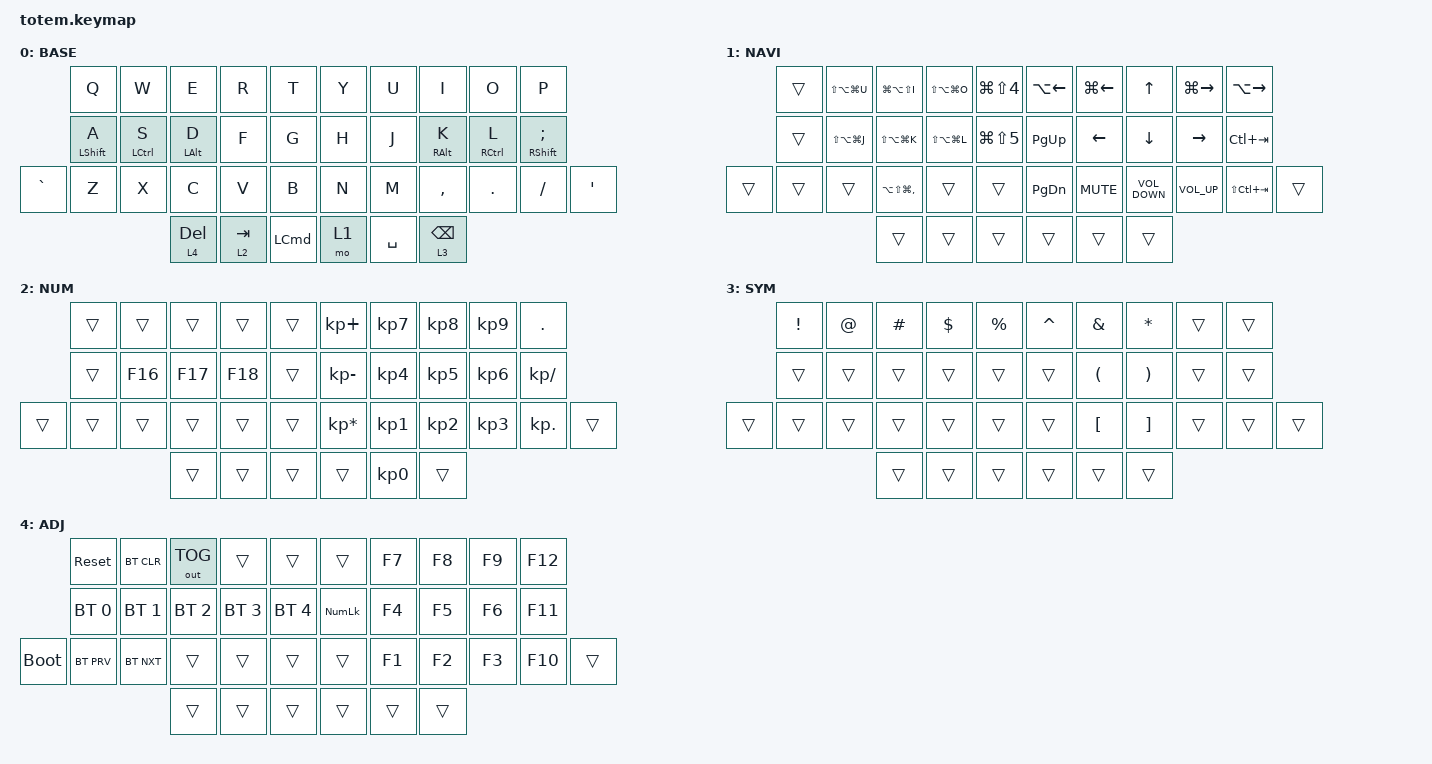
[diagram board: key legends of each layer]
//
//                                                        ▀▀▀▀▀     ▀▀▀▀▀          ▀▀█▀▀
//                                                        ▄▀▀▀▄  ▄  ▄▀▀▀▄  ▄  ▄▀▀▀▄  █  ▄▀▀▀▄
//                                                        █   █  █  █   █  █  █   █  █  █   █
//                                                         ▀▀▀   █   ▀▀▀   █   ▀▀▀   ▀   ▀▀▀
//                                                               █      ▄▄▄█▄▄▄    █   █  
//                                                               ▀      █  █  █     █▄█
//                                                             ▀▀▀▀▀    █  █  █      ▀
//                                                                      ▀  ▀  ▀
//
// ▄▄▄▄▄▄▄▄▄▄▄▄▄▄▄▄▄▄▄▄▄▄▄▄▄▄▄▄▄▄▄▄▄▄▄▄▄▄▄▄▄▄▄▄▄▄▄▄▄▄▄▄▄▄▄▄▄▄▄▄▄▄▄▄▄▄▄▄▄▄▄▄▄▄▄▄▄▄▄▄▄▄▄▄▄▄▄▄▄▄▄▄▄▄▄▄▄▄▄▄▄▄▄▄▄▄▄▄▄▄▄▄▄▄▄▄▄▄▄▄▄▄▄▄▄▄▄▄▄▄▄▄▄▄▄▄▄▄▄▄▄▄▄▄▄▄▄▄▄

#include <behaviors.dtsi>
#include <dt-bindings/zmk/bt.h>
#include <dt-bindings/zmk/keys.h>
#include <dt-bindings/zmk/outputs.h>

#define BASE 0
#define NAV  1
#define SYM  2
#define ADJ  3
#define TVP1 4
#define TVP2 5

&mt {
    quick-tap-ms = <100>;
    global-quick-tap;
    flavor = "tap-preferred";
    tapping-term-ms = <170>;
};

/ {
    combos {
        compatible = "zmk,combos";

        combo_esc {
            timeout-ms = <50>;
            key-positions = <0 1>;
            bindings = <&kp ESC>;
        };

        combo_enter {
            bindings = <&kp ENTER>;
            key-positions = <16 17 18>;
            timeout-ms = <50>;
        };

        combo_minus {
            bindings = <&kp MINUS>;
            key-positions = <7 8>;
        };

        combo_plus {
            bindings = <&kp EQUAL>;
            key-positions = <8 9>;
        };

        combo_backslash {
            bindings = <&kp BACKSLASH>;
            key-positions = <18 19>;
        };

        combo_f7 {
            bindings = <&kp F7>;
            key-positions = <27 28>;
        };

        combo_backspace {
            bindings = <&kp BACKSPACE>;
            key-positions = <16 17>;
            slow-release;
        };

        combo_delete {
            bindings = <&kp DELETE>;
            key-positions = <17 18>;
            slow-release;
        };

        combo_EN {
            bindings = <&double_F16>;
            key-positions = <12 13>;
        };

        combo_JP {
            bindings = <&double_F17>;
            key-positions = <13 14>;
        };

        combo_KR {
            bindings = <&double_F18>;
            key-positions = <15 16>;
        };
    };

    behaviors {
        hm: homerow_mods {
            compatible = "zmk,behavior-hold-tap";
            label = "HOMEROW_MODS";
            bindings = <&kp>, <&kp>;

            #binding-cells = <2>;
            tapping-term-ms = <200>;
            quick-tap-ms = <130>;
            flavor = "tap-preferred";
        };
    };

    macros {
        double_F16: double_F16 {
            compatible = "zmk,behavior-macro";
            #binding-cells = <0>;
            bindings =
                <&kp F16>,
                <&macro_tap>,
                <&macro_wait_time 400>,
                <&kp F16>,
                <&macro_tap>;

            label = "DOUBLE_F16";
        };

        double_F17: double_F17 {
            compatible = "zmk,behavior-macro";
            #binding-cells = <0>;
            bindings =
                <&kp F17>,
                <&macro_tap>,
                <&macro_wait_time 400>,
                <&kp F17>,
                <&macro_tap>;

            label = "DOUBLE_F17";
        };

        double_F18: double_F18 {
            compatible = "zmk,behavior-macro";
            #binding-cells = <0>;
            bindings =
                <&kp F18>,
                <&macro_tap>,
                <&macro_wait_time 400>,
                <&kp F18>,
                <&macro_tap>;

            label = "DOUBLE_F18";
        };

        double_F: double_F {
            compatible = "zmk,behavior-macro";
            #binding-cells = <0>;
            bindings =
                <&kp F>,
                <&macro_tap>,
                <&macro_wait_time 200>,
                <&kp F>,
                <&macro_tap>;

            label = "DOUBLE_F";
        };
    };

    keymap {
        compatible = "zmk,keymap";

        // ▄▄▄▄▄▄▄▄▄▄▄▄▄▄▄▄▄▄▄▄▄▄▄▄▄▄▄▄▄▄▄▄▄▄▄▄▄▄▄▄▄▄▄▄▄▄▄▄▄▄▄▄▄▄▄▄▄▄▄▄▄▄▄▄▄▄▄▄▄▄▄▄▄▄▄▄▄▄▄▄▄▄▄▄▄▄▄▄▄▄▄▄▄▄▄▄▄▄▄▄▄▄▄▄▄▄▄▄▄▄▄▄▄▄▄▄▄▄▄▄▄▄▄▄▄▄▄▄▄▄▄▄▄▄▄▄▄▄▄▄▄▄▄▄▄▄▄▄▄

        base_layer {
            // ┏━━━━━━━━━━━━━━━━━━━━━━━━━━━━━━━━━━━━━━━┓

            label = "BASE";

            // ┗━━━━━━━━━━━━━━━━━━━━━━━━━━━━━━━━━━━━━━━┛
            //             ┏━━━━━━━━━━━┳━━━━━━━━━━━┳━━━━━━━━━━━┳━━━━━━━━━━━┳━━━━━━━━━━━┓   ┏━━━━━━━━━━━┳━━━━━━━━━━━┳━━━━━━━━━━━┳━━━━━━━━━━━┳━━━━━━━━━━━┓
            //             ┃     Q     ┃     W     ┃     F     ┃     P     ┃     G     ┃   ┃     J     ┃     L     ┃     U     ┃     Y     ┃     ;     ┃
            //             ┣━━━━━━━━━━━╋━━━━━━━━━━━╋━━━━━━━━━━━╋━━━━━━━━━━━╋━━━━━━━━━━━┫   ┣━━━━━━━━━━━╋━━━━━━━━━━━╋━━━━━━━━━━━╋━━━━━━━━━━━╋━━━━━━━━━━━┫
            //             ┃     A     ┃     R     ┃     S     ┃     T     ┃     D     ┃   ┃     H     ┃     N     ┃     E     ┃     I     ┃     O     ┃
            // ┏━━━━━━━━━━━╋━━━━━━━━━━━╋━━━━━━━━━━━╋━━━━━━━━━━━╋━━━━━━━━━━━╋━━━━━━━━━━━┫   ┣━━━━━━━━━━━╋━━━━━━━━━━━╋━━━━━━━━━━━╋━━━━━━━━━━━╋━━━━━━━━━━━╋━━━━━━━━━━━┓
            // ┃     Q     ┃     Z     ┃     X     ┃     C     ┃     V     ┃     B     ┃   ┃     K     ┃     M     ┃     ,     ┃     .     ┃     /     ┃     \     ┃
            // ┗━━━━━━━━━━━┻━━━━━━━━━━━┻━━━━━━━━━━━╋━━━━━━━━━━━╋━━━━━━━━━━━╋━━━━━━━━━━━┫   ┣━━━━━━━━━━━╋━━━━━━━━━━━╋━━━━━━━━━━━╋━━━━━━━━━━━┻━━━━━━━━━━━┻━━━━━━━━━━━┛
            //                                     ┃    DEL    ┃    TAB    ┃    SPC    ┃   ┃   ENTER   ┃           ┃   BSPC    ┃
            //                                     ┗━━━━━━━━━━━┻━━━━━━━━━━━┻━━━━━━━━━━━┛   ┗━━━━━━━━━━━┻━━━━━━━━━━━┻━━━━━━━━━━━┛

            bindings = <
           &kp Q             &kp W               &kp E           &kp R      &kp T               &kp Y  &kp U      &kp I            &kp O                &kp P
           &hm LEFT_SHIFT A  &hm LEFT_CONTROL S  &hm LEFT_ALT D  &kp F      &kp G               &kp H  &kp J      &hm RIGHT_ALT K  &hm RIGHT_CONTROL L  &hm RIGHT_SHIFT SEMICOLON
&kp GRAVE  &kp Z             &kp X               &kp C           &kp V      &kp B               &kp N  &kp M      &kp COMMA        &kp DOT              &kp FSLH                   &kp SQT
                                                 &lt 4 DEL       &lt 2 TAB  &kp LEFT_COMMAND    &mo 1  &kp SPACE  &lt 3 BACKSPACE
            >;
        };

        nav_layer {
            // ┏━━━━━━━━━━━━━━━━━━━━━━━━━━━━━━━━━━━━━━━┓

            label = "NAVI";

            // ┗━━━━━━━━━━━━━━━━━━━━━━━━━━━━━━━━━━━━━━━┛
            //             ┏━━━━━━━━━━━┳━━━━━━━━━━━┳━━━━━━━━━━━┳━━━━━━━━━━━┳━━━━━━━━━━━┓   ┏━━━━━━━━━━━┳━━━━━━━━━━━┳━━━━━━━━━━━┳━━━━━━━━━━━┳━━━━━━━━━━━┓
            //             ┃           ┃           ┃     UP    ┃           ┃     {     ┃   ┃     }     ┃     7     ┃     8     ┃     9     ┃     +     ┃
            //             ┣━━━━━━━━━━━╋━━━━━━━━━━━╋━━━━━━━━━━━╋━━━━━━━━━━━╋━━━━━━━━━━━┫   ┣━━━━━━━━━━━╋━━━━━━━━━━━╋━━━━━━━━━━━╋━━━━━━━━━━━╋━━━━━━━━━━━┫
            //             ┃   SHIFT   ┃   LEFT    ┃    DOWN   ┃   RIGHT   ┃     [     ┃   ┃     ]     ┃     4     ┃     5     ┃     6     ┃     -     ┃
            // ┏━━━━━━━━━━━╋━━━━━━━━━━━╋━━━━━━━━━━━╋━━━━━━━━━━━╋━━━━━━━━━━━╋━━━━━━━━━━━┫   ┣━━━━━━━━━━━╋━━━━━━━━━━━╋━━━━━━━━━━━╋━━━━━━━━━━━╋━━━━━━━━━━━╋━━━━━━━━━━━┓
            // ┃           ┃           ┃   P UP    ┃  C LOCK   ┃  P DOWN   ┃     (     ┃   ┃     )     ┃     1     ┃     2     ┃     3     ┃     *     ┃           ┃
            // ┗━━━━━━━━━━━┻━━━━━━━━━━━┻━━━━━━━━━━━╋━━━━━━━━━━━╋━━━━━━━━━━━╋━━━━━━━━━━━┫   ┣━━━━━━━━━━━╋━━━━━━━━━━━╋━━━━━━━━━━━╋━━━━━━━━━━━┻━━━━━━━━━━━┻━━━━━━━━━━━┛
            //                                     ┃           ┃    TAB    ┃    SPC    ┃   ┃    DEL    ┃     0     ┃           ┃
            //                                     ┗━━━━━━━━━━━┻━━━━━━━━━━━┻━━━━━━━━━━━┛   ┗━━━━━━━━━━━┻━━━━━━━━━━━┻━━━━━━━━━━━┛

            bindings = <
        &trans  &kp LS(LA(LG(U)))  &kp LG(LA(LS(I)))      &kp LS(LA(LG(O)))  &kp LG(LS(NUMBER_4))    &kp LA(LEFT)  &kp LG(LEFT_ARROW)  &kp UP             &kp LG(RIGHT)    &kp LA(RIGHT)
        &trans  &kp LS(LA(LG(J)))  &kp LS(LA(LG(K)))      &kp LS(LA(LG(L)))  &kp LG(LS(NUMBER_5))    &kp PG_UP     &kp LEFT            &kp DOWN           &kp RIGHT        &kp LC(TAB)
&trans  &trans  &trans             &kp LA(LS(LG(COMMA)))  &trans             &trans                  &kp PG_DN     &kp C_MUTE          &kp C_VOLUME_DOWN  &kp C_VOLUME_UP  &kp LS(LC(TAB))  &trans
                                   &trans                 &trans             &trans                  &trans        &trans              &trans
            >;
        };

        num_layer {
            bindings = <
        &trans  &trans   &trans   &trans   &trans    &kp KP_PLUS      &kp KP_N7  &kp KP_N8  &kp KP_N9  &kp PERIOD
        &trans  &kp F16  &kp F17  &kp F18  &trans    &kp KP_MINUS     &kp KP_N4  &kp KP_N5  &kp KP_N6  &kp KP_DIVIDE
&trans  &trans  &trans   &trans   &trans   &trans    &kp KP_MULTIPLY  &kp KP_N1  &kp KP_N2  &kp KP_N3  &kp KP_DOT     &trans
                         &trans   &trans   &trans    &trans           &kp KP_N0  &trans
            >;

            label = "NUM";
        };

        sim_layer {
            // ┏━━━━━━━━━━━━━━━━━━━━━━━━━━━━━━━━━━━━━━━┓

            label = "SYM";

            // ┗━━━━━━━━━━━━━━━━━━━━━━━━━━━━━━━━━━━━━━━┛
            //             ┏━━━━━━━━━━━┳━━━━━━━━━━━┳━━━━━━━━━━━┳━━━━━━━━━━━┳━━━━━━━━━━━┓   ┏━━━━━━━━━━━┳━━━━━━━━━━━┳━━━━━━━━━━━┳━━━━━━━━━━━┳━━━━━━━━━━━┓
            //             ┃     !     ┃     @     ┃     #     ┃     $     ┃     %     ┃   ┃     ˆ     ┃     &     ┃     Ü     ┃     '     ┃     "     ┃
            //             ┣━━━━━━━━━━━╋━━━━━━━━━━━╋━━━━━━━━━━━╋━━━━━━━━━━━╋━━━━━━━━━━━┫   ┣━━━━━━━━━━━╋━━━━━━━━━━━╋━━━━━━━━━━━╋━━━━━━━━━━━╋━━━━━━━━━━━┫
            //             ┃     Ä     ┃           ┃    SZ     ┃           ┃           ┃   ┃   MUTE    ┃   YEN     ┃   EURO    ┃  POUND    ┃     Ö     ┃
            // ┏━━━━━━━━━━━╋━━━━━━━━━━━╋━━━━━━━━━━━╋━━━━━━━━━━━╋━━━━━━━━━━━╋━━━━━━━━━━━┫   ┣━━━━━━━━━━━╋━━━━━━━━━━━╋━━━━━━━━━━━╋━━━━━━━━━━━╋━━━━━━━━━━━╋━━━━━━━━━━━┓
            // ┃           ┃  EMAIL1   ┃  EMAIL2   ┃           ┃           ┃           ┃   ┃   VOL-    ┃   VOL+    ┃   LAST    ┃   NEXT    ┃     \     ┃           ┃
            // ┗━━━━━━━━━━━┻━━━━━━━━━━━┻━━━━━━━━━━━╋━━━━━━━━━━━╋━━━━━━━━━━━╋━━━━━━━━━━━┫   ┣━━━━━━━━━━━╋━━━━━━━━━━━╋━━━━━━━━━━━╋━━━━━━━━━━━┻━━━━━━━━━━━┻━━━━━━━━━━━┛
            //                                     ┃           ┃    GIF    ┃    ADJ    ┃   ┃           ┃           ┃           ┃
            //                                     ┗━━━━━━━━━━━┻━━━━━━━━━━━┻━━━━━━━━━━━┛   ┗━━━━━━━━━━━┻━━━━━━━━━━━┻━━━━━━━━━━━┛

            bindings = <
        &kp EXCL  &kp AT  &kp HASH  &kp DLLR  &kp PRCNT    &kp CARET  &kp AMPS              &kp ASTERISK           &trans  &trans
        &trans    &trans  &trans    &trans    &trans       &trans     &kp LEFT_PARENTHESIS  &kp RIGHT_PARENTHESIS  &trans  &trans
&trans  &trans    &trans  &trans    &trans    &trans       &trans     &kp LEFT_BRACKET      &kp RIGHT_BRACKET      &trans  &trans  &trans
                          &trans    &trans    &trans       &trans     &trans                &trans
            >;
        };

        adjust_layer {
            // ┏━━━━━━━━━━━━━━━━━━━━━━━━━━━━━━━━━━━━━━━┓

            label = "ADJ";

            // ┗━━━━━━━━━━━━━━━━━━━━━━━━━━━━━━━━━━━━━━━┛
            //             ┏━━━━━━━━━━━┳━━━━━━━━━━━┳━━━━━━━━━━━┳━━━━━━━━━━━┳━━━━━━━━━━━┓   ┏━━━━━━━━━━━┳━━━━━━━━━━━┳━━━━━━━━━━━┳━━━━━━━━━━━┳━━━━━━━━━━━┓
            //             ┃   RESET   ┃ BT CLEAR  ┃  OUT TOG  ┃           ┃           ┃   ┃           ┃    F7     ┃    F8     ┃    F9     ┃    F12    ┃
            //             ┣━━━━━━━━━━━╋━━━━━━━━━━━╋━━━━━━━━━━━╋━━━━━━━━━━━╋━━━━━━━━━━━┫   ┣━━━━━━━━━━━╋━━━━━━━━━━━╋━━━━━━━━━━━╋━━━━━━━━━━━╋━━━━━━━━━━━┫
            //             ┃ BOOTLOAD  ┃ BT NEXT   ┃           ┃           ┃           ┃   ┃           ┃    F4     ┃    F5     ┃    F6     ┃    F11    ┃
            // ┏━━━━━━━━━━━╋━━━━━━━━━━━╋━━━━━━━━━━━╋━━━━━━━━━━━╋━━━━━━━━━━━╋━━━━━━━━━━━┫   ┣━━━━━━━━━━━╋━━━━━━━━━━━╋━━━━━━━━━━━╋━━━━━━━━━━━╋━━━━━━━━━━━╋━━━━━━━━━━━┓
            // ┃           ┃           ┃ BT PREV   ┃           ┃           ┃           ┃   ┃           ┃    F1     ┃    F2     ┃    F3     ┃    F10    ┃           ┃
            // ┗━━━━━━━━━━━┻━━━━━━━━━━━┻━━━━━━━━━━━╋━━━━━━━━━━━╋━━━━━━━━━━━╋━━━━━━━━━━━┫   ┣━━━━━━━━━━━╋━━━━━━━━━━━╋━━━━━━━━━━━╋━━━━━━━━━━━┻━━━━━━━━━━━┻━━━━━━━━━━━┛
            //                                     ┃           ┃           ┃           ┃   ┃           ┃           ┃           ┃
            //                                     ┗━━━━━━━━━━━┻━━━━━━━━━━━┻━━━━━━━━━━━┛   ┗━━━━━━━━━━━┻━━━━━━━━━━━┻━━━━━━━━━━━┛

            bindings = <
             &sys_reset    &bt BT_CLR    &out OUT_TOG  &trans        &trans          &trans          &kp F7  &kp F8  &kp F9  &kp F12
             &bt BT_SEL 0  &bt BT_SEL 1  &bt BT_SEL 2  &bt BT_SEL 3  &bt BT_SEL 4    &kp KP_NUMLOCK  &kp F4  &kp F5  &kp F6  &kp F11
&bootloader  &bt BT_PRV    &bt BT_NXT    &trans        &trans        &trans          &trans          &kp F1  &kp F2  &kp F3  &kp F10  &trans
                                         &trans        &trans        &trans          &trans          &trans  &trans
            >;
        };
    };

    conditional_layers { compatible = "zmk,conditional-layers"; };
};
